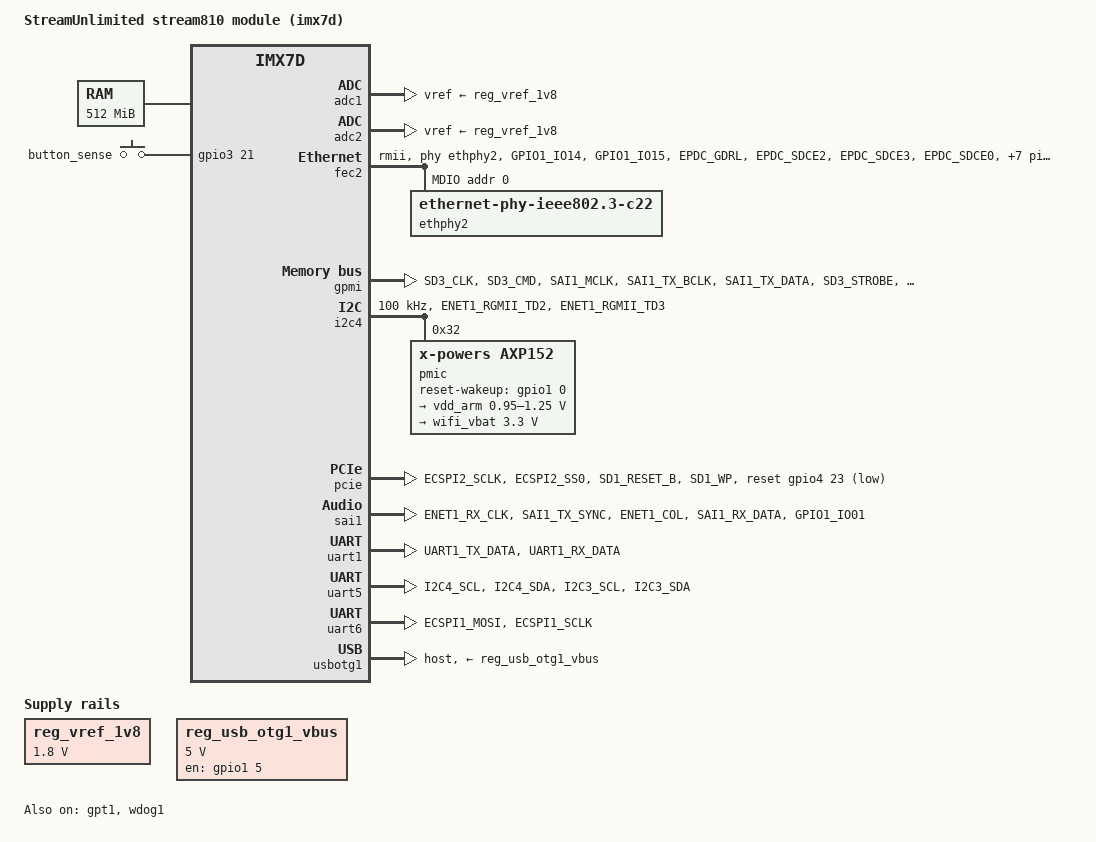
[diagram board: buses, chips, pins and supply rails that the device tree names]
/*
 * This program is free software; you can redistribute it and/or modify
 * it under the terms of the GNU General Public License version 2 as
 * published by the Free Software Foundation.
 */

#include <dt-bindings/input/input.h>
#include "imx7d.dtsi"

/ {
	model = "StreamUnlimited stream810 module (imx7d)";
	compatible = "sue,stream810", "fsl,imx7d";

	memory {
		reg = <0x80000000 0x20000000>;
	};

	firmware {
		optee {
			compatible = "linaro,optee-tz";
			method = "smc";
		};
	};

	regulators {
		compatible = "simple-bus";
		#address-cells = <1>;
		#size-cells = <0>;

		reg_vref_1v8: regulator@0 {
			compatible = "regulator-fixed";
			reg = <0>;
			regulator-name = "vref-1v8";
			regulator-min-microvolt = <1800000>;
			regulator-max-microvolt = <1800000>;
		};

		reg_usb_otg1_vbus: regulator@1 {
			pinctrl-names = "default";
			pinctrl-0 = <&pinctrl_usbotg2_pwr_1>;
			compatible = "regulator-fixed";
			reg = <0>;
			regulator-name = "usb_otg1_vbus";
			regulator-min-microvolt = <5000000>;
			regulator-max-microvolt = <5000000>;
			gpio = <&gpio1 5 GPIO_ACTIVE_HIGH>;
			enable-active-high;
		};
	};

	reserved-memory {
		ramoops@0x88000000 {
			compatible = "ramoops";

			// 128 KiB buffer
			reg = <0x88000000 0x20000>;

			// We only care about a single crash/entry from the last boot,
			// so make `record-size` equal to the total size
			record-size = <0x20000>;

			// Only dump panics, in our configuration we are setting
			// `panic_on_oops=1` anyway which will log it.
			no-dump-oops;
		};
	};

	gpio_buttons: gpio-keys {
		compatible = "gpio-keys";
		pinctrl-names = "default";
		pinctrl-0 = <&pinctrl_gpio_buttons>;

		button_sense {
			label = "button_sense";
			gpios = <&gpio3 21 GPIO_ACTIVE_HIGH>;
			linux,code = <KEY_POWER>;
			gpio-key,wakeup;
		};
	};
};

&adc1 {
	vref-supply = <&reg_vref_1v8>;
	status = "okay";
};

&adc2 {
	vref-supply = <&reg_vref_1v8>;
	status = "okay";
};

&caam_sm {
	status = "disabled";
};

&caam_snvs {
	status = "disabled";
};

&clks {
	assigned-clocks = <&clks IMX7D_PLL_AUDIO_POST_DIV>;
	assigned-clock-rates = <884736000>;
};

&cpu0 {
	arm-supply = <&vdd_arm>;
};

&crypto {
	status = "disabled";
};

&fec2 {
	pinctrl-names = "default";
	pinctrl-0 = <&pinctrl_enet2>;
	status = "okay";
	pinctrl-assert-gpios = <&gpio5 11 GPIO_ACTIVE_LOW>;

	assigned-clocks = <&clks IMX7D_ENET2_TIME_ROOT_SRC>,
			  <&clks IMX7D_ENET2_TIME_ROOT_CLK>,
			  <&clks IMX7D_ENET2_REF_ROOT_SRC>,
			  <&clks IMX7D_ENET2_REF_ROOT_CLK>;
	assigned-clock-parents = <&clks IMX7D_PLL_ENET_MAIN_100M_CLK>, <0>, <&clks IMX7D_PLL_ENET_MAIN_50M_CLK>, <0>;
	assigned-clock-rates = <0>, <100000000>, <0>, <50000000>;

	/* Override this list so we can change the last one (enet_out) */
	clocks = <&clks IMX7D_ENET_AXI_ROOT_CLK>,
		 <&clks IMX7D_ENET_AXI_ROOT_CLK>,
		 <&clks IMX7D_ENET2_TIME_ROOT_CLK>,
		 <&clks IMX7D_PLL_ENET_MAIN_125M_CLK>,
		 <&clks IMX7D_ENET2_REF_ROOT_CLK>;

	phy-mode = "rmii";

	phy-reset-gpios = <&gpio4 22 GPIO_ACTIVE_LOW>;
	phy-reset-duration = <10>;

	phy-handle = <&ethphy2>;

	mdio_bus: mdio {
		#address-cells = <1>;
		#size-cells = <0>;

		/* NOTE: The phy address of this node gets patched by U-Boot before booting,
		 * we need this to easily support the legacy L1 modules. Keep this in mind
		 * if you want to change anything here.
		 */
		ethphy2: ethernet-phy@0 {
			compatible = "ethernet-phy-ieee802.3-c22";
			reg = <0>;
		};
	};
};

&gpmi {
	pinctrl-names = "default";
	pinctrl-0 = <&pinctrl_gpmi_nand_1>;
	status = "okay";
	nand-on-flash-bbt;

	timings {
		data-setup-ns = <12>;
		data-hold-ns = <11>;
		address-setup-ns = <20>;
		sample-delay-ns = <0>;
		trea-ns = <20>;
		trloh-ns = <5>;
		trhoh-ns = <25>;
	};
};

&gpt1 {
	compatible = "sue,hwcounter-mx7";

	/*
	 * This property is ignored by the kernel driver, however we add it here so
	 * so we can match with udev on `ENV{OF_TYPE}=="sue,audio-group"` to set the
	 * group for the sysfs entries.
	 */
	device_type = "sue,audio-group";

	status = "okay";

	/*
	 * We want to use the the internal peripheral clock for counting the audio PLL
	 * thus we need to set the parent of the peripheral clock to  IMX7D_PLL_AUDIO_POST_DIV.
	 *
	 * However the audio PLL is too fast so we need to divide it by 2 using the sue,per-div
	 * option and then we also enable a prescaler by 8. So effectivly we are counting the
	 * (audio PLL) / 16 = hwcounter rate
	 */
	assigned-clocks = <&clks IMX7D_GPT1_ROOT_SRC>;
	assigned-clock-parents = <&clks IMX7D_PLL_AUDIO_POST_DIV>;

	sue,use-per-clk;
	sue,per-div = <2>;	/* divide the peripheral clock by 2 => (audio PLL)/2  */
	sue,prescaler = <7>;	/* count with (peripheral clock)/8  */
};

&i2c4 {
	clock-frequency = <100000>;
	pinctrl-names = "default";
	pinctrl-0 = <&pinctrl_i2c4>;
	status = "okay";

	pmic: axp152@32 {
		compatible = "x-powers,axp152";
		reg = <0x32>;
		no-irq;

		/* when this pin is set the axp driver will perform a reset by toggeling the wakeup pin */
		reset-wakeup-gpios = <&gpio1 0 GPIO_ACTIVE_HIGH>;

		/*
		 * Set DCDC2 (VDD_SOC_IN) to PWM workmode. It turns out the the imx7 fails to boot in some
		 * cases when VDD_SOC_IN is at 1.0V (the default value in the AXP OTP). We could just increase
		 * the voltage before performing the reboot, but the reset procedure restores the VDD_SCO_IN
		 * voltage from the OTP thus resetting it to 1.0V. As a workaround we set the DCDC2 to the PWM
		 * workmode, this raises the voltage in low power consumtion conditions and prevails through
		 * the reset procedure. It was verified by the hardware department and duration reboot tests
		 * that this works stable.
		 */
		reset-workmode-config = <0x04>;

		/* Per default all regulators are in auto mode */
		default-workmode-config = <0x00>;

		regulators {
			vdd_arm: dcdc4 {
				regulator-name = "vdd_arm";
				regulator-min-microvolt = <950000>;
				regulator-max-microvolt = <1250000>;
				regulator-boot-on;
				regulator-always-on;
			};

			wifi_vbat: ldo0 {
				regulator-name = "wifi_vbat";
				regulator-min-microvolt = <3300000>;
				regulator-max-microvolt = <3300000>;
				regulator-boot-on;
			};
		};
	};

};

&irq_sec_vio {
	status = "disabled";
};

/*
 * NOTES for the last number in every line:
 * 	PAD_CTL_PUS_100K_DOWN	(0 << 5)
 * 	PAD_CTL_PUS_5K_UP	(1 << 5)
 * 	PAD_CTL_PUS_47K_UP	(2 << 5)
 * 	PAD_CTL_PUS_100K_UP	(3 << 5)
 * 	PAD_CTL_PUE		(1 << 4)
 * 	PAD_CTL_HYS		(1 << 3)
 * 	PAD_CTL_SRE_SLOW	(1 << 2)
 * 	PAD_CTL_SRE_FAST	(0 << 2)
 * 	PAD_CTL_DSE_X1		(0 << 0) \
 * 	PAD_CTL_DSE_X2		(2 << 0)  |___ NOTE: the numbering here is not a typo!
 * 	PAD_CTL_DSE_X4		(1 << 0)  |
 * 	PAD_CTL_DSE_X6		(3 << 0) /
 * 	NO_PAD_CTL		(1 << 31): indicate this pin does not need config.
 * 	SIO			(1 << 30): Software Input On Field.
 */
&iomuxc {
	imx7d-sue-s810-common {
		pinctrl_wifi: wifigrp {
			fsl,pins = <
				MX7D_PAD_ECSPI2_SCLK__GPIO4_IO20	0x14 /* PCIE_W_DISABLE */
				MX7D_PAD_ECSPI2_SS0__GPIO4_IO23		0x14 /* PCIE_PERSTN */
				MX7D_PAD_SD1_RESET_B__GPIO5_IO2		0x14 /* WiFi PDn */
			>;
		};

		pinctrl_32kHz: _32kHzgrp {
			fsl,pins = <
				MX7D_PAD_SD1_WP__CCM_CLKO2		0x14
			>;
		};

		pinctrl_enet2: enet2grp {
			fsl,pins = <
				MX7D_PAD_GPIO1_IO14__ENET2_MDIO		0x03
				MX7D_PAD_GPIO1_IO15__ENET2_MDC		0x03

				MX7D_PAD_EPDC_GDRL__ENET2_RGMII_TX_CTL	0x01
				MX7D_PAD_EPDC_SDCE2__ENET2_RGMII_TD0	0x01
				MX7D_PAD_EPDC_SDCE3__ENET2_RGMII_TD1	0x01

				MX7D_PAD_EPDC_SDCE0__ENET2_RGMII_RX_CTL	0x01
				MX7D_PAD_EPDC_SDCLK__ENET2_RGMII_RD0	0x01
				MX7D_PAD_EPDC_SDLE__ENET2_RGMII_RD1	0x01
				MX7D_PAD_EPDC_SDCE1__ENET2_RX_ER	0x01

				MX7D_PAD_EPDC_BDR0__CCM_ENET_REF_CLK2	0x40000001

				/* IRQ */
				MX7D_PAD_SD2_RESET_B__GPIO5_IO11	0x80000000

				/* nRESET pin */
				MX7D_PAD_ECSPI2_MISO__GPIO4_IO22	0x80000000
			>;
		};

		pinctrl_gpio_buttons: gpio-buttons {
			fsl,pins = <
				MX7D_PAD_LCD_DATA16__GPIO3_IO21		0x0
			>;
		};

		pinctrl_gpmi_nand_1: gpmi-nand-1 {
			fsl,pins = <
				MX7D_PAD_SD3_CLK__NAND_CLE		0x71
				MX7D_PAD_SD3_CMD__NAND_ALE		0x71
				MX7D_PAD_SAI1_MCLK__NAND_WP_B		0x71
				MX7D_PAD_SAI1_TX_BCLK__NAND_CE0_B	0x71
				MX7D_PAD_SAI1_TX_DATA__NAND_READY_B	0x74
				MX7D_PAD_SD3_STROBE__NAND_RE_B		0x71
				MX7D_PAD_SD3_RESET_B__NAND_WE_B		0x71
				MX7D_PAD_SD3_DATA0__NAND_DATA00		0x71
				MX7D_PAD_SD3_DATA1__NAND_DATA01		0x71
				MX7D_PAD_SD3_DATA2__NAND_DATA02		0x71
				MX7D_PAD_SD3_DATA3__NAND_DATA03		0x71
				MX7D_PAD_SD3_DATA4__NAND_DATA04		0x71
				MX7D_PAD_SD3_DATA5__NAND_DATA05		0x71
				MX7D_PAD_SD3_DATA6__NAND_DATA06		0x71
				MX7D_PAD_SD3_DATA7__NAND_DATA07		0x71
			>;
		};

		pinctrl_i2c4: i2c4grp {
			fsl,pins = <
				MX7D_PAD_ENET1_RGMII_TD2__I2C4_SCL	0x4000007f
				MX7D_PAD_ENET1_RGMII_TD3__I2C4_SDA	0x4000007f
			>;
		};

		pinctrl_sai1: sai1grp {
			fsl,pins = <
				MX7D_PAD_ENET1_RX_CLK__SAI1_TX_BCLK	0x13	/* I2S_BCLK_OUT1_3 */
				MX7D_PAD_SAI1_TX_SYNC__SAI1_TX_SYNC	0x13	/* I2S_WCLK_OUT1_3 */
				MX7D_PAD_ENET1_COL__SAI1_TX_DATA0	0x13	/* I2S_DATA_OUT1 */
				MX7D_PAD_SAI1_RX_DATA__SAI1_RX_DATA0	0x13	/* I2S_DATA_IN1 */

				/*
				 * I2S_DATA_OUT3
				 * NOTE: This pin is used as the amp mute on the democlient
				 * with the adapter board, thus we need it to comment it
				 * out for now, otherwise we break the audio on the
				 * democlient.
				 */
				/* MX7D_PAD_SD1_DATA3__SAI3_TX_DATA0	0x13 */
			>;
		};

		pinctrl_uart1: uart1grp {
			fsl,pins = <
				MX7D_PAD_UART1_TX_DATA__UART1_DCE_TX	0x79
				MX7D_PAD_UART1_RX_DATA__UART1_DCE_RX	0x79
			>;
		};

		pinctrl_uart5: uart5grp {
			fsl,pins = <
				MX7D_PAD_I2C4_SCL__UART5_DCE_RX		0x79
				MX7D_PAD_I2C4_SDA__UART5_DCE_TX		0x79
				MX7D_PAD_I2C3_SCL__UART5_DCE_CTS	0x79
				MX7D_PAD_I2C3_SDA__UART5_DCE_RTS	0x79
			>;
		};

		pinctrl_uart6: uart6grp {
			fsl,pins = <
				MX7D_PAD_ECSPI1_MOSI__UART6_DCE_TX	0x79
				MX7D_PAD_ECSPI1_SCLK__UART6_DCE_RX	0x79
			>;
		};
	};
};

&iomuxc_lpsr {
	pinctrl-names = "default";

	imx7d-sue-s810-common {
		pinctrl_usbotg2_pwr_1: usbotg1-2 {
			fsl,pins = <
				MX7D_PAD_GPIO1_IO05__GPIO1_IO5	0x14
			>;
		};

		pinctrl_sai1_mclk: sai1grp_mclk {
			fsl,pins = <
				MX7D_PAD_GPIO1_IO01__SAI1_MCLK	0x14	/* I2S_MCLK_INOUT */
			>;
		};

		pinctrl_wdog1: wdog1grp {
			fsl,pins = <
				MX7D_PAD_GPIO1_IO00__WDOD1_WDOG_B 0x74
			>;
		};

		pinctrl_wdog1_gpio: wdog1grp_gpio {
			fsl,pins = <
				MX7D_PAD_GPIO1_IO00__GPIO1_IO0 0x14
			>;
		};

	};
};

&pcie {
	pinctrl-names = "default";
	pinctrl-0 = <&pinctrl_wifi &pinctrl_32kHz>;

	reset-gpio = <&gpio4 23 GPIO_ACTIVE_LOW>;
	disable-gpio = <&gpio4 20 GPIO_ACTIVE_LOW>;
	power-on-gpio = <&gpio5 2 GPIO_ACTIVE_LOW>;
	pcie-dev-supply = <&wifi_vbat>;

	status = "okay";
};

&sai1 {
	/*
	 * We are setting the clock rate of SAI1_ROOT_CLK to to the MCLK for 48kHz and the PLL is
	 * set so we can generate the MCLK for 48kHz. This will preconfigure the divider so when
	 * we switch the PLL to a frequency for 44.1kHz, we don't need to change any dividers to
	 * have the proper MCLK.
	 */
	pinctrl-names = "default";
	pinctrl-0 = <&pinctrl_sai1 &pinctrl_sai1_mclk>;
	assigned-clocks = <&clks IMX7D_SAI1_ROOT_SRC>,
			  <&clks IMX7D_SAI1_ROOT_CLK>;
	assigned-clock-parents = <&clks IMX7D_PLL_AUDIO_POST_DIV>;
	assigned-clock-rates = <0>, <24576000>;

	hwcounter-node = <&gpt1>;

	status = "okay";

	/*
	 * This property is ignored by the kernel driver, however we add it here so
	 * so we can match with udev on `ENV{OF_TYPE}=="sue,audio-group"` to set the
	 * group for the sysfs entries.
	 */
	device_type = "sue,audio-group";
};

&snvs_poweroff {
	/*
	 * We disable the poweroff driver since we are using the PMIC for
	 * poweroff.
	 */
	status = "disabled";
};

&snvs_pwrkey {
	status = "disabled";
};

&uart1 {
	pinctrl-names = "default";
	pinctrl-0 = <&pinctrl_uart1>;
	assigned-clocks = <&clks IMX7D_UART1_ROOT_SRC>;
	assigned-clock-parents = <&clks IMX7D_OSC_24M_CLK>;
	status = "okay";
};

&uart5 {
	pinctrl-names = "default";
	pinctrl-0 = <&pinctrl_uart5>;
	assigned-clocks = <&clks IMX7D_UART5_ROOT_SRC>;
	assigned-clock-parents = <&clks IMX7D_PLL_SYS_MAIN_240M_CLK>;
	fsl,uart-has-rtscts;
	status = "okay";
};

&uart6 {
	pinctrl-names = "default";
	pinctrl-0 = <&pinctrl_uart6>;
	assigned-clocks = <&clks IMX7D_UART6_ROOT_SRC>;
	assigned-clock-parents = <&clks IMX7D_OSC_24M_CLK>;
	status = "okay";
};

&usbotg1 {
	vbus-supply = <&reg_usb_otg1_vbus>;
	dr_mode = "host";
	status = "okay";
};

&wdog1 {
	/* The reset pinctrl will be selected before performing a reset */
	pinctrl-names = "default", "reset";
	pinctrl-0 = <&pinctrl_wdog1>;
	pinctrl-1 = <&pinctrl_wdog1_gpio>;

	sue,noreset;
	status = "okay";
};
